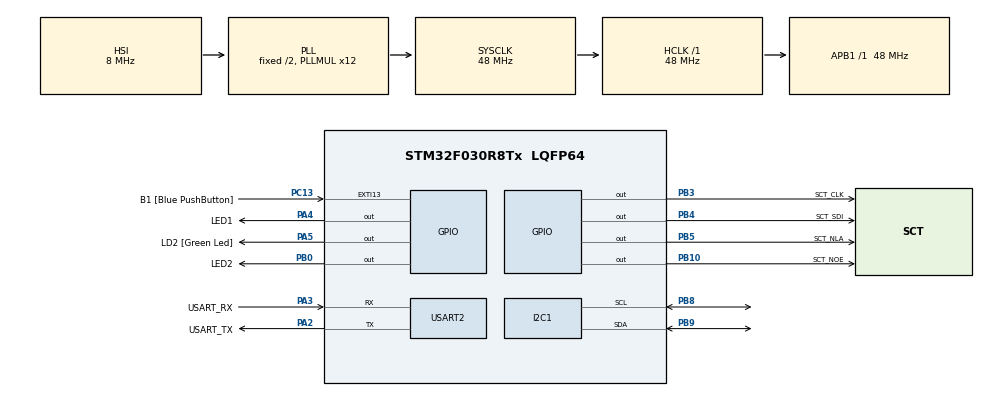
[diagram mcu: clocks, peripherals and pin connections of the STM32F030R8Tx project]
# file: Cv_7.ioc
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FREERTOS.Queues01=xVisualQueue,16,uint16_t,0,Dynamic,NULL,NULL
FREERTOS.Tasks01=defaultTask,0,128,StartDefaultTask,Default,NULL,Dynamic,NULL,NULL;VisualTask,0,128,StartVisualTask,Default,NULL,Dynamic,NULL,NULL;AcceleroTask,0,128,StartAcceleroTask,Default,NULL,Dynamic,NULL,NULL
FREERTOS.configUSE_NEWLIB_REENTRANT=1
Mcu.Family=STM32F0
Mcu.Name=STM32F030R8Tx
Mcu.Package=LQFP64
NVIC.TIM14_IRQn=true\:3\:0\:false\:false\:true\:false\:false\:true\:true
NVIC.TimeBase=TIM14_IRQn
NVIC.TimeBaseIP=TIM14
PA13.GPIO_Label=TMS
PA13.Mode=Serial_Wire
PA13.Signal=SYS_SWDIO
PA14.GPIO_Label=TCK
PA14.Mode=Serial_Wire
PA14.Signal=SYS_SWCLK
PA2.GPIO_Label=USART_TX
PA2.GPIO_Mode=GPIO_MODE_AF_PP
PA2.GPIO_PuPd=GPIO_NOPULL
PA2.GPIO_Speed=GPIO_SPEED_FREQ_LOW
PA2.Mode=Asynchronous
PA2.Signal=USART2_TX
PA3.GPIO_Label=USART_RX
PA3.GPIO_Mode=GPIO_MODE_AF_PP
PA3.GPIO_PuPd=GPIO_NOPULL
PA3.GPIO_Speed=GPIO_SPEED_FREQ_LOW
PA3.Mode=Asynchronous
PA3.Signal=USART2_RX
PA4.GPIO_Label=LED1
PA4.Signal=GPIO_Output
PA5.GPIO_Label=LD2 [Green Led]
PA5.GPIO_Mode=GPIO_MODE_OUTPUT_PP
PA5.GPIO_PuPd=GPIO_NOPULL
PA5.GPIO_Speed=GPIO_SPEED_FREQ_LOW
PA5.Signal=GPIO_Output
PB0.GPIO_Label=LED2
PB0.Signal=GPIO_Output
PB10.GPIO_Label=SCT_NOE
PB10.Signal=GPIO_Output
PB3.GPIO_Label=SCT_CLK
PB3.Signal=GPIO_Output
PB4.GPIO_Label=SCT_SDI
PB4.Signal=GPIO_Output
PB5.GPIO_Label=SCT_NLA
PB5.Signal=GPIO_Output
PB8.Mode=I2C
PB8.Signal=I2C1_SCL
PB9.Mode=I2C
PB9.Signal=I2C1_SDA
PC13.GPIO_Label=B1 [Blue PushButton]
PC13.GPIO_ModeDefaultEXTI=GPIO_MODE_IT_FALLING
PC13.Signal=GPXTI13
PC14-OSC32_IN.Mode=LSE-External-Oscillator
PC14-OSC32_IN.Signal=RCC_OSC32_IN
PC15-OSC32_OUT.Mode=LSE-External-Oscillator
PC15-OSC32_OUT.Signal=RCC_OSC32_OUT
PF0-OSC_IN.Mode=HSE-External-Clock-Source
PF0-OSC_IN.Signal=RCC_OSC_IN
PF1-OSC_OUT.Signal=RCC_OSC_OUT
ProjectManager.HeapSize=0x200
ProjectManager.StackSize=0x400
ProjectManager.TargetToolchain=STM32CubeIDE
RCC.AHBFreq_Value=48000000
RCC.APB1Freq_Value=48000000
RCC.APB1TimFreq_Value=48000000
RCC.HCLKFreq_Value=48000000
RCC.PLLMUL=RCC_PLL_MUL12
RCC.SYSCLKFreq_VALUE=48000000
RCC.SYSCLKSource=RCC_SYSCLKSOURCE_PLLCLK
USART2.VirtualMode-Asynchronous=VM_ASYNC
VP_FREERTOS_VS_CMSIS_V1.Mode=CMSIS_V1
VP_SYS_VS_tim14.Mode=TIM14
board=NUCLEO-F030R8

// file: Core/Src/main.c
/* USER CODE BEGIN Header */
/**
  ******************************************************************************
  * @file           : main.c
  * @brief          : Main program body
  ******************************************************************************
  * @attention
  *
  * Copyright (c) 2022 STMicroelectronics.
  * All rights reserved.
  *
  * This software is licensed under terms that can be found in the LICENSE file
  * in the root directory of this software component.
  * If no LICENSE file comes with this software, it is provided AS-IS.
  *
  ******************************************************************************
  */
/* USER CODE END Header */
#include "main.h"
#include "cmsis_os.h"

/* USER CODE BEGIN Includes */
#include "lis2dw12_reg.h"
#include "sct.h"
#include <stdio.h>
/* USER CODE END Includes */

I2C_HandleTypeDef hi2c1;

UART_HandleTypeDef huart2;

osThreadId defaultTaskHandle;
osThreadId VisualTaskHandle;
osThreadId AcceleroTaskHandle;
osMessageQId xVisualQueueHandle;

void SystemClock_Config(void);
static void MX_GPIO_Init(void);
static void MX_USART2_UART_Init(void);
static void MX_I2C1_Init(void);
void StartDefaultTask(void const * argument);
void StartVisualTask(void const * argument);
void StartAcceleroTask(void const * argument);

/* USER CODE BEGIN PFP */
int _write(int file, char const *buf, int n);

static int32_t platform_write(void *handle, uint8_t reg, const uint8_t *bufp, uint16_t len);
static int32_t platform_read(void *handle, uint8_t reg, uint8_t *bufp, uint16_t len);
static stmdev_ctx_t lis2dw12 = {
 .write_reg = platform_write,
 .read_reg = platform_read,
 .handle = &hi2c1,
};
/* USER CODE END PFP */

int main(void)
{

  /* MCU Configuration--------------------------------------------------------*/

  /* Reset of all peripherals, Initializes the Flash interface and the Systick. */
  HAL_Init();

  /* Configure the system clock */
  SystemClock_Config();

  /* Initialize all configured peripherals */
  MX_GPIO_Init();
  MX_USART2_UART_Init();
  MX_I2C1_Init();

  /* Create the queue(s) */
  /* definition and creation of xVisualQueue */
  osMessageQDef(xVisualQueue, 16, uint16_t);
  xVisualQueueHandle = osMessageCreate(osMessageQ(xVisualQueue), NULL);

  /* Create the thread(s) */
  /* definition and creation of defaultTask */
  osThreadDef(defaultTask, StartDefaultTask, osPriorityNormal, 0, 128);
  defaultTaskHandle = osThreadCreate(osThread(defaultTask), NULL);

  /* definition and creation of VisualTask */
  osThreadDef(VisualTask, StartVisualTask, osPriorityNormal, 0, 128);
  VisualTaskHandle = osThreadCreate(osThread(VisualTask), NULL);

  /* definition and creation of AcceleroTask */
  osThreadDef(AcceleroTask, StartAcceleroTask, osPriorityNormal, 0, 128);
  AcceleroTaskHandle = osThreadCreate(osThread(AcceleroTask), NULL);

  /* Start scheduler */
  osKernelStart();

  /* We should never get here as control is now taken by the scheduler */
  /* Infinite loop */
  while (1)
  {

  }
}

void SystemClock_Config(void)
{
  RCC_OscInitTypeDef RCC_OscInitStruct = {0};
  RCC_ClkInitTypeDef RCC_ClkInitStruct = {0};
  RCC_PeriphCLKInitTypeDef PeriphClkInit = {0};

  /** Initializes the RCC Oscillators according to the specified parameters
  * in the RCC_OscInitTypeDef structure.
  */
  RCC_OscInitStruct.OscillatorType = RCC_OSCILLATORTYPE_HSI;
  RCC_OscInitStruct.HSIState = RCC_HSI_ON;
  RCC_OscInitStruct.HSICalibrationValue = RCC_HSICALIBRATION_DEFAULT;
  RCC_OscInitStruct.PLL.PLLState = RCC_PLL_ON;
  RCC_OscInitStruct.PLL.PLLSource = RCC_PLLSOURCE_HSI;
  RCC_OscInitStruct.PLL.PLLMUL = RCC_PLL_MUL12;
  RCC_OscInitStruct.PLL.PREDIV = RCC_PREDIV_DIV1;
  if (HAL_RCC_OscConfig(&RCC_OscInitStruct) != HAL_OK)
  {
    Error_Handler();
  }

  /** Initializes the CPU, AHB and APB buses clocks
  */
  RCC_ClkInitStruct.ClockType = RCC_CLOCKTYPE_HCLK|RCC_CLOCKTYPE_SYSCLK
                              |RCC_CLOCKTYPE_PCLK1;
  RCC_ClkInitStruct.SYSCLKSource = RCC_SYSCLKSOURCE_PLLCLK;
  RCC_ClkInitStruct.AHBCLKDivider = RCC_SYSCLK_DIV1;
  RCC_ClkInitStruct.APB1CLKDivider = RCC_HCLK_DIV1;

  if (HAL_RCC_ClockConfig(&RCC_ClkInitStruct, FLASH_LATENCY_1) != HAL_OK)
  {
    Error_Handler();
  }
  PeriphClkInit.PeriphClockSelection = RCC_PERIPHCLK_I2C1;
  PeriphClkInit.I2c1ClockSelection = RCC_I2C1CLKSOURCE_HSI;
  if (HAL_RCCEx_PeriphCLKConfig(&PeriphClkInit) != HAL_OK)
  {
    Error_Handler();
  }
}

static void MX_I2C1_Init(void)
{

  hi2c1.Instance = I2C1;
  hi2c1.Init.Timing = 0x2000090E;
  hi2c1.Init.OwnAddress1 = 0;
  hi2c1.Init.AddressingMode = I2C_ADDRESSINGMODE_7BIT;
  hi2c1.Init.DualAddressMode = I2C_DUALADDRESS_DISABLE;
  hi2c1.Init.OwnAddress2 = 0;
  hi2c1.Init.OwnAddress2Masks = I2C_OA2_NOMASK;
  hi2c1.Init.GeneralCallMode = I2C_GENERALCALL_DISABLE;
  hi2c1.Init.NoStretchMode = I2C_NOSTRETCH_DISABLE;
  if (HAL_I2C_Init(&hi2c1) != HAL_OK)
  {
    Error_Handler();
  }

  /** Configure Analogue filter
  */
  if (HAL_I2CEx_ConfigAnalogFilter(&hi2c1, I2C_ANALOGFILTER_ENABLE) != HAL_OK)
  {
    Error_Handler();
  }

  /** Configure Digital filter
  */
  if (HAL_I2CEx_ConfigDigitalFilter(&hi2c1, 0) != HAL_OK)
  {
    Error_Handler();
  }

}

static void MX_USART2_UART_Init(void)
{

  huart2.Instance = USART2;
  huart2.Init.BaudRate = 38400;
  huart2.Init.WordLength = UART_WORDLENGTH_8B;
  huart2.Init.StopBits = UART_STOPBITS_1;
  huart2.Init.Parity = UART_PARITY_NONE;
  huart2.Init.Mode = UART_MODE_TX_RX;
  huart2.Init.HwFlowCtl = UART_HWCONTROL_NONE;
  huart2.Init.OverSampling = UART_OVERSAMPLING_16;
  huart2.Init.OneBitSampling = UART_ONE_BIT_SAMPLE_DISABLE;
  huart2.AdvancedInit.AdvFeatureInit = UART_ADVFEATURE_NO_INIT;
  if (HAL_UART_Init(&huart2) != HAL_OK)
  {
    Error_Handler();
  }

}

static void MX_GPIO_Init(void)
{
  GPIO_InitTypeDef GPIO_InitStruct = {0};

  /* GPIO Ports Clock Enable */
  __HAL_RCC_GPIOC_CLK_ENABLE();
  __HAL_RCC_GPIOF_CLK_ENABLE();
  __HAL_RCC_GPIOA_CLK_ENABLE();
  __HAL_RCC_GPIOB_CLK_ENABLE();

  /*Configure GPIO pin Output Level */
  HAL_GPIO_WritePin(GPIOA, GPIO_PIN_4|GPIO_PIN_5, GPIO_PIN_RESET);

  /*Configure GPIO pin Output Level */
  HAL_GPIO_WritePin(GPIOB, GPIO_PIN_0|GPIO_PIN_10|GPIO_PIN_3|GPIO_PIN_4
                          |GPIO_PIN_5, GPIO_PIN_RESET);

  /*Configure GPIO pin : PC13 */
  GPIO_InitStruct.Pin = GPIO_PIN_13;
  GPIO_InitStruct.Mode = GPIO_MODE_IT_FALLING;
  GPIO_InitStruct.Pull = GPIO_NOPULL;
  HAL_GPIO_Init(GPIOC, &GPIO_InitStruct);

  /*Configure GPIO pins : PA4 PA5 */
  GPIO_InitStruct.Pin = GPIO_PIN_4|GPIO_PIN_5;
  GPIO_InitStruct.Mode = GPIO_MODE_OUTPUT_PP;
  GPIO_InitStruct.Pull = GPIO_NOPULL;
  GPIO_InitStruct.Speed = GPIO_SPEED_FREQ_LOW;
  HAL_GPIO_Init(GPIOA, &GPIO_InitStruct);

  /*Configure GPIO pins : PB0 PB10 PB3 PB4
                           PB5 */
  GPIO_InitStruct.Pin = GPIO_PIN_0|GPIO_PIN_10|GPIO_PIN_3|GPIO_PIN_4
                          |GPIO_PIN_5;
  GPIO_InitStruct.Mode = GPIO_MODE_OUTPUT_PP;
  GPIO_InitStruct.Pull = GPIO_NOPULL;
  GPIO_InitStruct.Speed = GPIO_SPEED_FREQ_LOW;
  HAL_GPIO_Init(GPIOB, &GPIO_InitStruct);

}

/* USER CODE BEGIN 4 */
static int32_t platform_write(void *handle, uint8_t reg, const uint8_t *bufp, uint16_t len) {
	HAL_I2C_Mem_Write(handle, LIS2DW12_I2C_ADD_H, reg, I2C_MEMADD_SIZE_8BIT, (uint8_t*)bufp, len, 1000);
	return 0;

}
static int32_t platform_read(void *handle, uint8_t reg, uint8_t *bufp, uint16_t len) {
	HAL_I2C_Mem_Read(handle, LIS2DW12_I2C_ADD_H, reg, I2C_MEMADD_SIZE_8BIT, bufp, len, 1000);
	return 0;
}
int _write(int file, char const *buf, int n)
{
 /* stdout redirection to UART2 */
	HAL_UART_Transmit(&huart2, (uint8_t*)(buf), n, HAL_MAX_DELAY);
	return n;
}

/* USER CODE END 4 */

void StartDefaultTask(void const * argument)
{
  for(;;)
  {
	  osDelay(1);
  }
}

void StartVisualTask(void const * argument)
{
  /* USER CODE BEGIN StartVisualTask */
  /* Infinite loop */
  for(;;)
  {
	  int16_t msg;
	  if (xQueueReceive(xVisualQueueHandle, &msg, portMAX_DELAY)) {
		  if(msg<-1000){
			  HAL_GPIO_WritePin(LED1_GPIO_Port, LED1_Pin, 0); //light up  LED1
		  }else
		  if(msg>-1000){
			  HAL_GPIO_WritePin(LED1_GPIO_Port, LED1_Pin, 1); //light down  LED1
		  }

		  if(msg>1000){
			  HAL_GPIO_WritePin(LED2_GPIO_Port, LED2_Pin, 0); //light up  LED2
		  }else
		  if(msg<1000){
			  HAL_GPIO_WritePin(LED2_GPIO_Port, LED2_Pin, 1); //light down  LED2
		  }
	  }

    osDelay(100);
  }
  /* USER CODE END StartVisualTask */
}

void StartAcceleroTask(void const * argument)
{
  /* USER CODE BEGIN StartAcceleroTask */
  /* Infinite loop */
  for(;;)
  {

	  lis2dw12_full_scale_set(&lis2dw12, LIS2DW12_2g);
	  lis2dw12_power_mode_set(&lis2dw12, LIS2DW12_CONT_LOW_PWR_LOW_NOISE_2);
	  lis2dw12_block_data_update_set(&lis2dw12, PROPERTY_ENABLE);
	  lis2dw12_fifo_mode_set(&lis2dw12, LIS2DW12_STREAM_MODE); // enable continuous FIFO
	  lis2dw12_data_rate_set(&lis2dw12, LIS2DW12_XL_ODR_25Hz); // enable part from power-down

	  uint8_t samples;
	  int16_t raw_acceleration[3];
	  lis2dw12_fifo_data_level_get(&lis2dw12, &samples);
	  for (uint8_t i = 0; i < samples; i++) {
	   // Read acceleration data
	   lis2dw12_acceleration_raw_get(&lis2dw12, raw_acceleration);
	   printf("X=%d Y=%d Z=%d\n", raw_acceleration[0], raw_acceleration[1], raw_acceleration[2]);
	  }

	  xQueueSend(xVisualQueueHandle, &raw_acceleration[0], 0);  // Send x-axis acceleration data to visual led function
		osDelay(100);
		uint8_t raw_z = raw_acceleration[1]>>8;
		uint8_t raw_y = raw_acceleration[2]>>8;
		sct_value(raw_z/10, raw_y/10);

  }
  /* USER CODE END StartAcceleroTask */
}

void HAL_TIM_PeriodElapsedCallback(TIM_HandleTypeDef *htim)
{
  if (htim->Instance == TIM14) {
    HAL_IncTick();
  }
}

void Error_Handler(void)
{
  __disable_irq();
  while (1)
  {
  }
}
